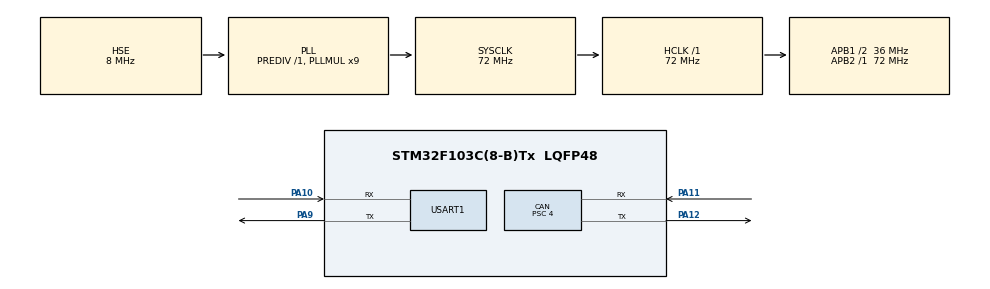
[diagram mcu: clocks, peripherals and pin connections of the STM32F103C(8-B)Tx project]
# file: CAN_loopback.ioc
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CAN.BS1=CAN_BS1_14TQ
CAN.BS2=CAN_BS2_3TQ
CAN.CalculateBaudRate=500000
CAN.CalculateTimeBit=2000
CAN.CalculateTimeQuantum=111.11111111111111
CAN.Mode=CAN_MODE_LOOPBACK
CAN.Prescaler=4
CAN.SJW=CAN_SJW_2TQ
Mcu.Family=STM32F1
Mcu.Name=STM32F103C(8-B)Tx
Mcu.Package=LQFP48
NVIC.CAN1_RX1_IRQn=true\:0\:0\:false\:false\:true\:true\:true\:true
NVIC.PriorityGroup=NVIC_PRIORITYGROUP_4
PA10.Mode=Asynchronous
PA10.Signal=USART1_RX
PA11.Mode=CAN_Activate
PA11.Signal=CAN_RX
PA12.Mode=CAN_Activate
PA12.Signal=CAN_TX
PA13.Mode=Serial_Wire
PA13.Signal=SYS_JTMS-SWDIO
PA14.Mode=Serial_Wire
PA14.Signal=SYS_JTCK-SWCLK
PA9.Mode=Asynchronous
PA9.Signal=USART1_TX
PD0-OSC_IN.Mode=HSE-External-Oscillator
PD0-OSC_IN.Signal=RCC_OSC_IN
PD1-OSC_OUT.Mode=HSE-External-Oscillator
PD1-OSC_OUT.Signal=RCC_OSC_OUT
ProjectManager.HeapSize=0x200
ProjectManager.StackSize=0x400
ProjectManager.TargetToolchain=STM32CubeIDE
RCC.AHBFreq_Value=72000000
RCC.APB1CLKDivider=RCC_HCLK_DIV2
RCC.APB1Freq_Value=36000000
RCC.APB1TimFreq_Value=72000000
RCC.APB2Freq_Value=72000000
RCC.APB2TimFreq_Value=72000000
RCC.HCLKFreq_Value=72000000
RCC.PLLMUL=RCC_PLL_MUL9
RCC.PLLSourceVirtual=RCC_PLLSOURCE_HSE
RCC.SYSCLKFreq_VALUE=72000000
RCC.SYSCLKSource=RCC_SYSCLKSOURCE_PLLCLK
RCC.USBFreq_Value=72000000
USART1.VirtualMode=VM_ASYNC
board=custom

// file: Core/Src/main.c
/* USER CODE BEGIN Header */
/**
  ******************************************************************************
  * @file           : main.c
  * @brief          : Main program body
  ******************************************************************************
  * @attention
  *
  * <h2><center>&copy; Copyright (c) 2021 STMicroelectronics.
  * All rights reserved.</center></h2>
  *
  * This software component is licensed by ST under BSD 3-Clause license,
  * the "License"; You may not use this file except in compliance with the
  * License. You may obtain a copy of the License at:
  *                        opensource.org/licenses/BSD-3-Clause
  *
  ******************************************************************************
  */
/* USER CODE END Header */
#include "main.h"

/* USER CODE BEGIN Includes */
#include "stdint.h"
#include "string.h"
#include "stdio.h"
/* USER CODE END Includes */

CAN_HandleTypeDef hcan;

UART_HandleTypeDef huart1;

void SystemClock_Config(void);
static void MX_GPIO_Init(void);
static void MX_CAN_Init(void);
static void MX_USART1_UART_Init(void);

/* USER CODE BEGIN 0 */

CAN_TxHeaderTypeDef TxHeader;
CAN_RxHeaderTypeDef RxHeader;

uint32_t TxMailbox[3];

uint8_t TxData[8] = "ABCDEFGH";
uint8_t RxData[8];

uint8_t count = 0;
uint8_t Tx_Buffer[100];

void HAL_CAN_RxFifo1MsgPendingCallback(CAN_HandleTypeDef *hcan)
{
	HAL_CAN_GetRxMessage(hcan, CAN_RX_FIFO1, &RxHeader, RxData);
	count++;
}
/* USER CODE END 0 */

int main(void)
{

  /* MCU Configuration--------------------------------------------------------*/

  /* Reset of all peripherals, Initializes the Flash interface and the Systick. */
  HAL_Init();

  /* Configure the system clock */
  SystemClock_Config();

  /* Initialize all configured peripherals */
  MX_GPIO_Init();
  MX_CAN_Init();
  MX_USART1_UART_Init();
  /* USER CODE BEGIN 2 */

  memset(Tx_Buffer,0,sizeof(Tx_Buffer)); //clear buffer before write
  sprintf((char*)Tx_Buffer,"LoopBack start..");
  HAL_UART_Transmit(&huart1,Tx_Buffer,sizeof(Tx_Buffer), 10);

  HAL_CAN_Start(&hcan);

  HAL_CAN_ActivateNotification(&hcan, CAN_IT_RX_FIFO1_MSG_PENDING);

  TxHeader.DLC = 8;
  TxHeader.ExtId = 0;
  TxHeader.IDE = CAN_ID_STD;
  TxHeader.RTR = CAN_RTR_DATA;
  TxHeader.StdId = 0x111;
  TxHeader.TransmitGlobalTime = DISABLE;

  //support maximum 3 mailbox
  if (HAL_CAN_AddTxMessage(&hcan, &TxHeader, TxData, &TxMailbox[0]) != HAL_OK)
  {
	  Error_Handler();
  }

  HAL_Delay(500);

  memset(Tx_Buffer,0,sizeof(Tx_Buffer)); //clear buffer before write
  sprintf((char*)Tx_Buffer,"RxData:%s\nCount:%u",RxData,count);
  HAL_UART_Transmit(&huart1,Tx_Buffer,sizeof(Tx_Buffer), 10);

  /* USER CODE END 2 */

  /* Infinite loop */
  while (1)
  {

  }
}

void SystemClock_Config(void)
{
  RCC_OscInitTypeDef RCC_OscInitStruct = {0};
  RCC_ClkInitTypeDef RCC_ClkInitStruct = {0};

  /** Initializes the RCC Oscillators according to the specified parameters
  * in the RCC_OscInitTypeDef structure.
  */
  RCC_OscInitStruct.OscillatorType = RCC_OSCILLATORTYPE_HSE;
  RCC_OscInitStruct.HSEState = RCC_HSE_ON;
  RCC_OscInitStruct.HSEPredivValue = RCC_HSE_PREDIV_DIV1;
  RCC_OscInitStruct.HSIState = RCC_HSI_ON;
  RCC_OscInitStruct.PLL.PLLState = RCC_PLL_ON;
  RCC_OscInitStruct.PLL.PLLSource = RCC_PLLSOURCE_HSE;
  RCC_OscInitStruct.PLL.PLLMUL = RCC_PLL_MUL9;
  if (HAL_RCC_OscConfig(&RCC_OscInitStruct) != HAL_OK)
  {
    Error_Handler();
  }

  /** Initializes the CPU, AHB and APB buses clocks
  */
  RCC_ClkInitStruct.ClockType = RCC_CLOCKTYPE_HCLK|RCC_CLOCKTYPE_SYSCLK
                              |RCC_CLOCKTYPE_PCLK1|RCC_CLOCKTYPE_PCLK2;
  RCC_ClkInitStruct.SYSCLKSource = RCC_SYSCLKSOURCE_PLLCLK;
  RCC_ClkInitStruct.AHBCLKDivider = RCC_SYSCLK_DIV1;
  RCC_ClkInitStruct.APB1CLKDivider = RCC_HCLK_DIV2;
  RCC_ClkInitStruct.APB2CLKDivider = RCC_HCLK_DIV1;

  if (HAL_RCC_ClockConfig(&RCC_ClkInitStruct, FLASH_LATENCY_2) != HAL_OK)
  {
    Error_Handler();
  }
}

static void MX_CAN_Init(void)
{

  hcan.Instance = CAN1;
  hcan.Init.Prescaler = 4;
  hcan.Init.Mode = CAN_MODE_LOOPBACK;
  hcan.Init.SyncJumpWidth = CAN_SJW_2TQ;
  hcan.Init.TimeSeg1 = CAN_BS1_14TQ;
  hcan.Init.TimeSeg2 = CAN_BS2_3TQ;
  hcan.Init.TimeTriggeredMode = DISABLE;
  hcan.Init.AutoBusOff = DISABLE;
  hcan.Init.AutoWakeUp = DISABLE;
  hcan.Init.AutoRetransmission = DISABLE;
  hcan.Init.ReceiveFifoLocked = DISABLE;
  hcan.Init.TransmitFifoPriority = DISABLE;
  if (HAL_CAN_Init(&hcan) != HAL_OK)
  {
    Error_Handler();
  }
  /* USER CODE BEGIN CAN_Init 2 */

  CAN_FilterTypeDef canfilterconfig;

  canfilterconfig.FilterActivation = CAN_FILTER_ENABLE;
  canfilterconfig.FilterBank = 10;  // anything between 0 to SlaveStartFilterBank
  canfilterconfig.FilterFIFOAssignment = CAN_RX_FIFO1;
  canfilterconfig.FilterIdHigh = 0x103<<5;
  canfilterconfig.FilterIdLow = 0x0000;
  canfilterconfig.FilterMaskIdHigh = 0x1<<13;
  canfilterconfig.FilterMaskIdLow = 0x0000;
  canfilterconfig.FilterMode = CAN_FILTERMODE_IDMASK;
  canfilterconfig.FilterScale = CAN_FILTERSCALE_32BIT;
  canfilterconfig.SlaveStartFilterBank = 13;  // 13 to 27 are assigned to slave CAN (CAN 2) OR 0 to 12 are assgned to CAN1

  HAL_CAN_ConfigFilter(&hcan, &canfilterconfig);

  /* USER CODE END CAN_Init 2 */

}

static void MX_USART1_UART_Init(void)
{

  huart1.Instance = USART1;
  huart1.Init.BaudRate = 115200;
  huart1.Init.WordLength = UART_WORDLENGTH_8B;
  huart1.Init.StopBits = UART_STOPBITS_1;
  huart1.Init.Parity = UART_PARITY_NONE;
  huart1.Init.Mode = UART_MODE_TX_RX;
  huart1.Init.HwFlowCtl = UART_HWCONTROL_NONE;
  huart1.Init.OverSampling = UART_OVERSAMPLING_16;
  if (HAL_UART_Init(&huart1) != HAL_OK)
  {
    Error_Handler();
  }

}

static void MX_GPIO_Init(void)
{

  /* GPIO Ports Clock Enable */
  __HAL_RCC_GPIOD_CLK_ENABLE();
  __HAL_RCC_GPIOA_CLK_ENABLE();

}

void Error_Handler(void)
{
  __disable_irq();
  while (1)
  {
  }
}
